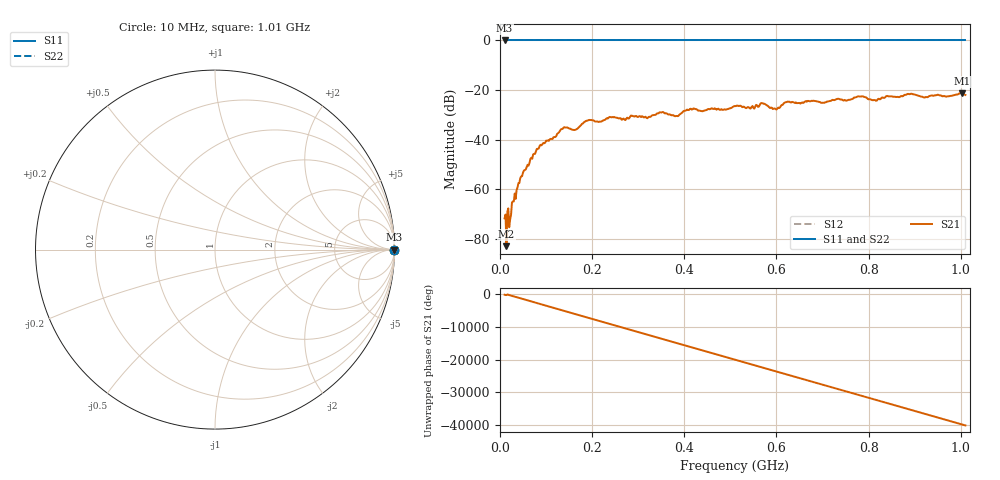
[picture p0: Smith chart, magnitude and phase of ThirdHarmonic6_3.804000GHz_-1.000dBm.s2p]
! 8/17/2025 1:10:10 PM
! C:\ANRITSUVNA\TEMP\TEMP.S2P
! CHANNEL.1
! TR.MEASUREMENT
! RAW.DATA
! RF.CORRECTION.OFF
! AVERAGING.OFF
! IF.BANDWIDTH: 5KHZ
! SWEEPTYPE:  FREQ.SWEEP(Linear)
! Reference Plane Port Info
! PORT:  PORT1  PORT2
! DISTANCE:  0  m  0  m
! TIME:  0  s  0  s
! PHASE.OFFSET:  0  deg.  0  deg.
! LOSS:  0  dB  0  dB
! REF.LOSS:  0  dB  0  dB
! REF.FREQ:  0  Hz  0  Hz
! Power Info
! POWER:  -20  dBm  -20  dBm
! EFF.POWER:  -20  dBm  -20  dBm
! SOURCE.ATTEN:  0  dB  0  dB
! TEST.ATTEN:  0  dB  0  dB
# GHZ S RI R 50.0
! FREQ.GHZ  S11RE  S11IM  S21RE  S21IM  S12RE  S12IM  S22RE  S22IM
!; PortSelection: Port_12
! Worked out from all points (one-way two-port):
!   501 points, 10 MHz to 1.01 GHz, reference 50 ohm
!   highest |S21| = -21.26 dB at 1.002 GHz (marker M1); lowest = -82.9 dB at 14 MHz (marker M2)
!   lowest |S11| = 0.0 dB at 10 MHz (marker M3)
!   |S11| at or under -10 dB: nowhere
!   |S22| runs from 0.0 to 0.0 dB; largest |S21 - S12| = 1.1
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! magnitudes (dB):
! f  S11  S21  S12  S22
! 10 MHz  0.0  -71.7  0.0  0.0
! 14 MHz  0.0  -82.9  0.0  0.0
! 18 MHz  0.0  -67.7  0.0  0.0
! 48 MHz  0.0  -54.7  0.0  0.0
! 84 MHz  0.0  -43.6  0.0  0.0
! 136 MHz  0.0  -35.6  0.0  0.0
! 162 MHz  0.0  -36.1  0.0  0.0
! 178 MHz  0.0  -33.6  0.0  0.0
! 344 MHz  0.0  -29.4  0.0  0.0
! 384 MHz  0.0  -30.4  0.0  0.0
! 416 MHz  0.0  -27.9  0.0  0.0
! 510 MHz  0.0  -26.4  0.0  0.0
! 548 MHz  0.0  -26.4  0.0  0.0
! 570 MHz  0.0  -25.3  0.0  0.0
! 596 MHz  0.0  -27.4  0.0  0.0
! 622 MHz  0.0  -24.9  0.0  0.0
! 678 MHz  0.0  -24.4  0.0  0.0
! 780 MHz  0.0  -22.6  0.0  0.0
! 814 MHz  0.0  -24.1  0.0  0.0
! 844 MHz  0.0  -22.6  0.0  0.0
! 1.002 GHz  0.0  -21.3  0.0  0.0
! 1.01 GHz  0.0  -22.0  0.0  0.0
